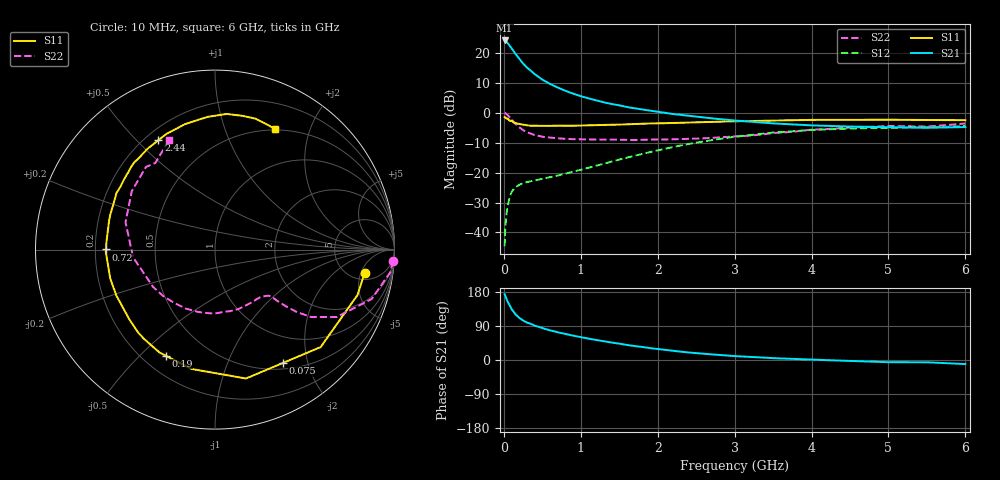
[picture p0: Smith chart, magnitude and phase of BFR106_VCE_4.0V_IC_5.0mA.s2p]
! Infineon Technologies  Discrete & RF Semiconductors
! BFR106
! VCE =  4.0 V,  IC =  5.0 mA
! Common Emitter S-Parameters:  Nov 2015
# GHz  S  MA  R  50
!  f  S11  S21  S12  S22
! GHz  MAG  ANG  MAG  ANG  MAG  ANG  MAG  ANG
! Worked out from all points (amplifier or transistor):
!   210 points, 10 MHz to 6 GHz, reference 50 ohm
!   highest |S21| = 24.1 dB at 10 MHz (marker M1)
!   |S21| within 3 dB of that: start of sweep to 112 MHz
!   unconditionally stable (mu >= 1): 619.1 MHz to 1.894 GHz; 4.721 GHz to end of sweep
!   at 185 MHz: K = 0.39, MSG = 21.4 dB, |S12| = -24.3 dB
!   at 1.52 GHz: K = 1.11, MAG = 6.9 dB, |S12| = -15.5 dB
!   at 6 GHz: K = 1.02, MAG = -1.0 dB, |S12| = -4.5 dB
!   S11 on the Smith chart (normalised r, x): 10 MHz: 6.44, -5.82; 75 MHz: 0.59, -1.61; 190 MHz: 0.29, -0.60; 720 MHz: 0.24, +0.00; 2.44 GHz: 0.25, +0.58; 6 GHz: 0.49, +1.50
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0.01  0.8434 -8.9  16.08 173.6  0.0059 85.3  0.9945 -3.8
0.02  0.8332 -17.7  15.91 169.0  0.0122 81.2  0.9831 -7.6
0.05  0.8009 -42.7  14.63 153.3  0.0285 68.5  0.9151 -17.5
0.075  0.7366 -58.9  13.14 144.8  0.0377 59.6  0.8408 -22.8
0.1  0.7386 -76.5  12.01 134.4  0.0474 54.3  0.7749 -29.0
0.15  0.6778 -101.1  9.648 120.2  0.0572 45.6  0.653 -35.1
0.19  0.6517 -114.9  8.27 113.4  0.0616 42.1  0.5874 -36.9
0.2  0.6513 -118.4  7.948 111.3  0.0627 41.3  0.5711 -37.4
0.26  0.6296 -133.0  6.428 103.1  0.0672 38.7  0.5027 -38.7
0.3  0.6161 -140.6  5.677 98.9  0.0693 38.6  0.4732 -39.2
0.4  0.6063 -155.0  4.413 90.7  0.0737 39.1  0.4225 -39.7
0.5  0.6055 -164.5  3.567 84.0  0.0787 41.5  0.3965 -40.5
0.6  0.6027 -172.6  3.023 78.2  0.0837 44.0  0.3833 -42.2
0.72  0.6078 179.9  2.566 72.2  0.0904 47.7  0.372 -45.0
1.02  0.6118 164.6  1.856 59.5  0.1129 55.4  0.3591 -53.5
1.4  0.6332 150.0  1.395 46.2  0.152 61.2  0.3559 -67.9
2.02  0.6637 129.4  1.024 28.6  0.2385 60.8  0.3563 -96.3
2.44  0.6867 117.3  0.878 19.2  0.3063 56.2  0.3675 -118.7
3.1  0.7213 101.3  0.725 9.3  0.4088 44.7  0.4067 -154.5
4.1  0.7582 83.8  0.608 0.3  0.52 25.0  0.526 159.2
5.1  0.7615 71.7  0.571 -5.8  0.5622 8.7  0.5968 128.9
6  0.75 63.6  0.576 -10.8  0.5962 -2.4  0.6605 112.9
